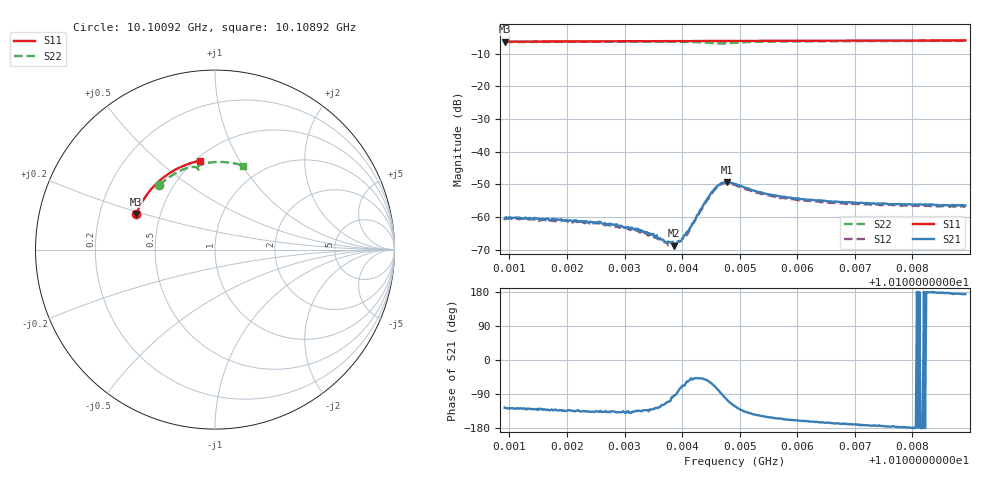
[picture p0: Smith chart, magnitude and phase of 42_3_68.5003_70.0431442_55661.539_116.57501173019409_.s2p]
#  HZ  S  RI  R  50.00
! Rohde & Schwarz Vector Network Analyzer
! Rohde-Schwarz,ZNB20-2Port,1311601062101988,3.16
! Created: UTC 3/20/2024, 5:05:38 PM
! freq[Hz]  re:S11  im:S11  re:S21  im:S21  re:S12  im:S12  re:S22  im:S22
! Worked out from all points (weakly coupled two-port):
!   401 points, 10.10092 GHz to 10.10892 GHz, reference 50 ohm
!   highest |S21| = -49.36 dB at 10.10478 GHz (marker M1); lowest = -68.8 dB at 10.10386 GHz (marker M2)
!   lowest |S11| = -6.4 dB at 10.10092 GHz (marker M3), VSWR 2.86, Z = 18.2 + j9.41 ohm
!   |S11| at or under -10 dB: nowhere
!   |S22| runs from -6.9 to -6.1 dB; largest |S21 - S12| = 0.00035
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1.0100917e10  -0.4385 0.1984  -0.000541 -0.000751  -0.000504 -0.000795  -0.31 0.3585
1.0101137e10  -0.4335 0.2109  -0.000605 -0.000772  -0.000514 -0.000773  -0.2994 0.3681
1.0101777e10  -0.417 0.2461  -0.000607 -0.000681  -0.000531 -0.000695  -0.2674 0.3945
1.0102258e10  -0.4025 0.2717  -0.000616 -0.00061  -0.000549 -0.000636  -0.2416 0.4124
1.0102558e10  -0.3929 0.2871  -0.000617 -0.000574  -0.000526 -0.000592  -0.2248 0.4226
1.0103098e10  -0.3741 0.3138  -0.000497 -0.000436  -0.000413 -0.000472  -0.193 0.4395
1.0103398e10  -0.3626 0.3282  -0.000387 -0.000428  -0.000331 -0.000407  -0.1742 0.4476
1.0103598e10  -0.3547 0.3373  -0.000262 -0.000384  -0.000243 -0.000383  -0.1611 0.4525
1.0103738e10  -0.3492 0.3439  -0.000151 -0.000385  -0.000126 -0.00038  -0.1514 0.4556
1.0103858e10  -0.3443 0.3493  -2.44e-05 -0.000363  -4.19e-06 -0.000356  -0.143 0.4578
1.0103898e10  -0.3427 0.3511  1.39e-06 -0.000397  4.71e-05 -0.000373  -0.1401 0.4585
1.0103978e10  -0.3392 0.3546  0.000134 -0.000437  0.000139 -0.000398  -0.134 0.4597
1.0104078e10  -0.335 0.359  0.00032 -0.000489  0.000313 -0.00042  -0.1262 0.4606
1.0104398e10  -0.3211 0.3725  0.00104 -0.0013  0.00107 -0.0012  -0.1 0.4557
1.0104558e10  -0.3141 0.379  0.000964 -0.00246  0.00112 -0.00229  -0.0934 0.4452
1.0104658e10  -0.3095 0.3829  0.000295 -0.00314  0.000541 -0.003  -0.0962 0.4403
1.0104778e10  -0.3042 0.3877  -0.000881 -0.00329  -0.000555 -0.00321  -0.1022 0.4432
1.0104918e10  -0.2978 0.3932  -0.00169 -0.0027  -0.0014 -0.00271  -0.1017 0.4536
1.0105498e10  -0.2699 0.4147  -0.00193 -0.00108  -0.00175 -0.00121  -0.0645 0.4781
1.0106258e10  -0.2312 0.4395  -0.00174 -0.000544  -0.00157 -0.000652  -0.0127 0.487
1.0107599e10  -0.1579 0.474  -0.00155 -0.000115  -0.00152 -0.000269  0.0747 0.4854
1.0108919e10  -0.081 0.4953  -0.00148 0.000154  -0.00143 -4.47e-06  0.1574 0.4683
